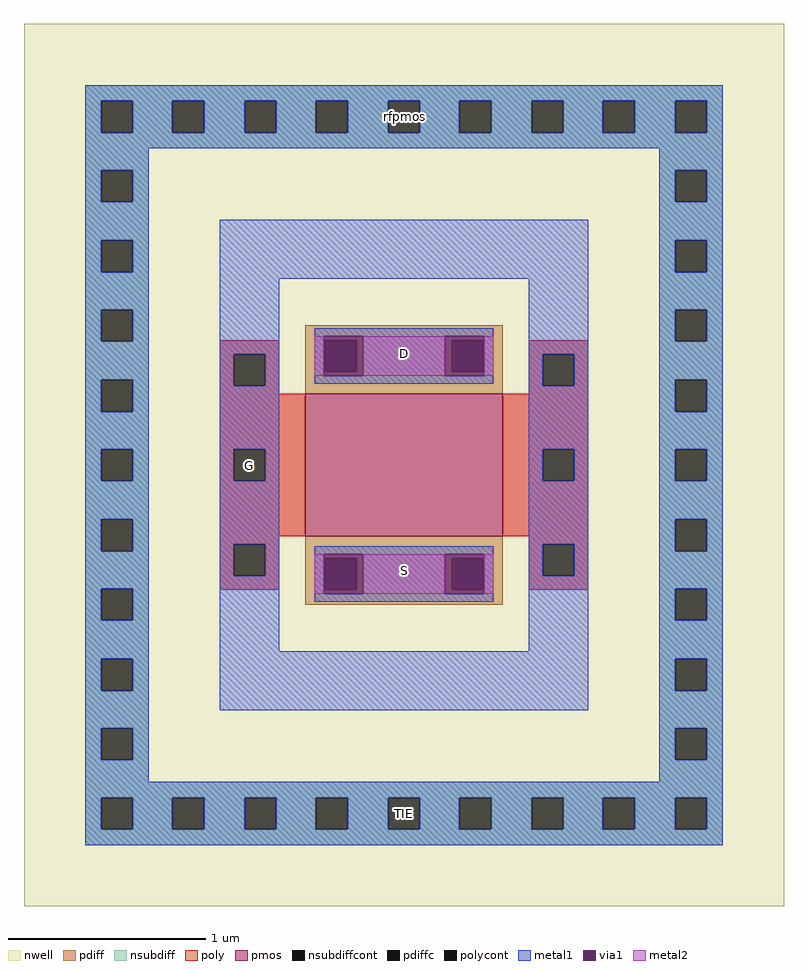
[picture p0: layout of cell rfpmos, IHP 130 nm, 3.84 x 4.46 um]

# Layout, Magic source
magic
tech ihp-sg13g2
magscale 1 2
<< nwell >>
rect 0 0 768 892
<< pmos >>
rect 284 374 484 518
<< pdiff >>
rect 284 572 484 587
rect 284 540 304 572
rect 336 540 432 572
rect 464 540 484 572
rect 284 518 484 540
rect 284 352 484 374
rect 284 320 304 352
rect 336 320 432 352
rect 464 320 484 352
rect 284 305 484 320
<< pdiffc >>
rect 304 540 336 572
rect 432 540 464 572
rect 304 320 336 352
rect 432 320 464 352
<< nsubdiff >>
rect 62 814 706 830
rect 62 782 78 814
rect 110 782 150 814
rect 182 782 223 814
rect 255 782 295 814
rect 327 782 368 814
rect 400 782 440 814
rect 472 782 513 814
rect 545 782 585 814
rect 617 782 658 814
rect 690 782 706 814
rect 62 766 706 782
rect 62 744 126 766
rect 62 712 78 744
rect 110 712 126 744
rect 62 673 126 712
rect 62 641 78 673
rect 110 641 126 673
rect 62 603 126 641
rect 62 571 78 603
rect 110 571 126 603
rect 642 744 706 766
rect 642 712 658 744
rect 690 712 706 744
rect 642 673 706 712
rect 642 641 658 673
rect 690 641 706 673
rect 642 603 706 641
rect 62 532 126 571
rect 62 500 78 532
rect 110 500 126 532
rect 62 462 126 500
rect 62 430 78 462
rect 110 430 126 462
rect 62 391 126 430
rect 62 359 78 391
rect 110 359 126 391
rect 62 321 126 359
rect 62 289 78 321
rect 110 289 126 321
rect 642 571 658 603
rect 690 571 706 603
rect 642 532 706 571
rect 642 500 658 532
rect 690 500 706 532
rect 642 462 706 500
rect 642 430 658 462
rect 690 430 706 462
rect 642 391 706 430
rect 642 359 658 391
rect 690 359 706 391
rect 642 321 706 359
rect 62 250 126 289
rect 62 218 78 250
rect 110 218 126 250
rect 62 180 126 218
rect 62 148 78 180
rect 110 148 126 180
rect 62 126 126 148
rect 642 289 658 321
rect 690 289 706 321
rect 642 250 706 289
rect 642 218 658 250
rect 690 218 706 250
rect 642 180 706 218
rect 642 148 658 180
rect 690 148 706 180
rect 642 126 706 148
rect 62 110 706 126
rect 62 78 78 110
rect 110 78 150 110
rect 182 78 223 110
rect 255 78 295 110
rect 327 78 368 110
rect 400 78 440 110
rect 472 78 513 110
rect 545 78 585 110
rect 617 78 658 110
rect 690 78 706 110
rect 62 62 706 78
<< nsubdiffcont >>
rect 78 782 110 814
rect 150 782 182 814
rect 223 782 255 814
rect 295 782 327 814
rect 368 782 400 814
rect 440 782 472 814
rect 513 782 545 814
rect 585 782 617 814
rect 658 782 690 814
rect 78 712 110 744
rect 78 641 110 673
rect 78 571 110 603
rect 658 712 690 744
rect 658 641 690 673
rect 78 500 110 532
rect 78 430 110 462
rect 78 359 110 391
rect 78 289 110 321
rect 658 571 690 603
rect 658 500 690 532
rect 658 430 690 462
rect 658 359 690 391
rect 78 218 110 250
rect 78 148 110 180
rect 658 289 690 321
rect 658 218 690 250
rect 658 148 690 180
rect 78 78 110 110
rect 150 78 182 110
rect 223 78 255 110
rect 295 78 327 110
rect 368 78 400 110
rect 440 78 472 110
rect 513 78 545 110
rect 585 78 617 110
rect 658 78 690 110
<< poly >>
rect 198 558 258 572
rect 198 526 212 558
rect 244 526 258 558
rect 198 518 258 526
rect 510 558 570 572
rect 510 526 524 558
rect 556 526 570 558
rect 510 518 570 526
rect 198 462 284 518
rect 198 430 212 462
rect 244 430 284 462
rect 198 374 284 430
rect 484 462 570 518
rect 484 430 524 462
rect 556 430 570 462
rect 484 374 570 430
rect 198 366 258 374
rect 198 334 212 366
rect 244 334 258 366
rect 198 320 258 334
rect 510 366 570 374
rect 510 334 524 366
rect 556 334 570 366
rect 510 320 570 334
<< polycont >>
rect 212 526 244 558
rect 524 526 556 558
rect 212 430 244 462
rect 524 430 556 462
rect 212 334 244 366
rect 524 334 556 366
<< metal1 >>
rect 62 814 706 830
rect 62 782 78 814
rect 110 782 150 814
rect 182 782 223 814
rect 255 782 295 814
rect 327 782 368 814
rect 400 782 440 814
rect 472 782 513 814
rect 545 782 585 814
rect 617 782 658 814
rect 690 782 706 814
rect 62 766 706 782
rect 62 744 126 766
rect 62 712 78 744
rect 110 712 126 744
rect 62 673 126 712
rect 642 744 706 766
rect 642 712 658 744
rect 690 712 706 744
rect 62 641 78 673
rect 110 641 126 673
rect 62 603 126 641
rect 62 571 78 603
rect 110 571 126 603
rect 62 532 126 571
rect 62 500 78 532
rect 110 500 126 532
rect 62 462 126 500
rect 62 430 78 462
rect 110 430 126 462
rect 62 391 126 430
rect 62 359 78 391
rect 110 359 126 391
rect 62 321 126 359
rect 62 289 78 321
rect 110 289 126 321
rect 62 250 126 289
rect 62 218 78 250
rect 110 218 126 250
rect 62 180 126 218
rect 198 634 570 694
rect 198 558 258 634
rect 198 526 212 558
rect 244 526 258 558
rect 294 576 474 584
rect 294 536 303 576
rect 343 536 425 576
rect 465 536 474 576
rect 294 528 474 536
rect 510 558 570 634
rect 198 462 258 526
rect 198 430 212 462
rect 244 430 258 462
rect 198 366 258 430
rect 198 334 212 366
rect 244 334 258 366
rect 510 526 524 558
rect 556 526 570 558
rect 510 462 570 526
rect 510 430 524 462
rect 556 430 570 462
rect 510 366 570 430
rect 198 258 258 334
rect 294 356 474 364
rect 294 316 303 356
rect 343 316 425 356
rect 465 316 474 356
rect 294 308 474 316
rect 510 334 524 366
rect 556 334 570 366
rect 510 258 570 334
rect 198 198 570 258
rect 642 673 706 712
rect 642 641 658 673
rect 690 641 706 673
rect 642 603 706 641
rect 642 571 658 603
rect 690 571 706 603
rect 642 532 706 571
rect 642 500 658 532
rect 690 500 706 532
rect 642 462 706 500
rect 642 430 658 462
rect 690 430 706 462
rect 642 391 706 430
rect 642 359 658 391
rect 690 359 706 391
rect 642 321 706 359
rect 642 289 658 321
rect 690 289 706 321
rect 642 250 706 289
rect 642 218 658 250
rect 690 218 706 250
rect 62 148 78 180
rect 110 148 126 180
rect 62 126 126 148
rect 642 180 706 218
rect 642 148 658 180
rect 690 148 706 180
rect 642 126 706 148
rect 62 110 706 126
rect 62 78 78 110
rect 110 78 150 110
rect 182 78 223 110
rect 255 78 295 110
rect 327 78 368 110
rect 400 78 440 110
rect 472 78 513 110
rect 545 78 585 110
rect 617 78 658 110
rect 690 78 706 110
rect 62 62 706 78
<< via1 >>
rect 303 572 343 576
rect 303 540 304 572
rect 304 540 336 572
rect 336 540 343 572
rect 303 536 343 540
rect 425 572 465 576
rect 425 540 432 572
rect 432 540 464 572
rect 464 540 465 572
rect 425 536 465 540
rect 303 352 343 356
rect 303 320 304 352
rect 304 320 336 352
rect 336 320 343 352
rect 303 316 343 320
rect 425 352 465 356
rect 425 320 432 352
rect 432 320 464 352
rect 464 320 465 352
rect 425 316 465 320
<< metal2 >>
rect 294 536 303 576
rect 343 536 425 576
rect 465 536 474 576
rect 294 316 303 356
rect 343 316 425 356
rect 465 316 474 356
<< labels >>
flabel comment s 384 94 384 94 0 FreeSans 320 0 0 0 TIE
flabel comment s 384 798 384 798 0 FreeSans 480 0 0 0 rfpmos
flabel comment s 228 446 228 446 0 FreeSans 600 0 0 0 G
flabel comment s 384 559 384 559 0 FreeSans 600 0 0 0 D
flabel comment s 384 339 384 339 0 FreeSans 600 0 0 0 S
<< end >>
